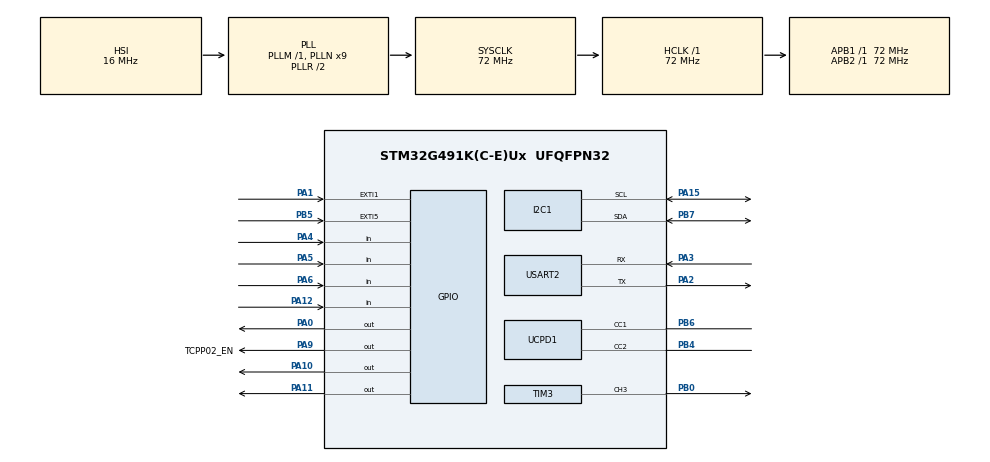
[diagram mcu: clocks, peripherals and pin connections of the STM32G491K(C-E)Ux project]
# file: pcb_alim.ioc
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Dma.Request0=UCPD1_RX
Dma.Request1=UCPD1_TX
Dma.UCPD1_RX.0.Direction=DMA_PERIPH_TO_MEMORY
Dma.UCPD1_RX.0.EventEnable=DISABLE
Dma.UCPD1_RX.0.Instance=DMA1_Channel1
Dma.UCPD1_RX.0.MemDataAlignment=DMA_MDATAALIGN_BYTE
Dma.UCPD1_RX.0.MemInc=DMA_MINC_ENABLE
Dma.UCPD1_RX.0.Mode=DMA_NORMAL
Dma.UCPD1_RX.0.PeriphDataAlignment=DMA_PDATAALIGN_BYTE
Dma.UCPD1_RX.0.PeriphInc=DMA_PINC_DISABLE
Dma.UCPD1_RX.0.Polarity=HAL_DMAMUX_REQ_GEN_RISING
Dma.UCPD1_RX.0.Priority=DMA_PRIORITY_LOW
Dma.UCPD1_RX.0.RequestNumber=1
Dma.UCPD1_RX.0.SignalID=NONE
Dma.UCPD1_RX.0.SyncEnable=DISABLE
Dma.UCPD1_RX.0.SyncPolarity=HAL_DMAMUX_SYNC_NO_EVENT
Dma.UCPD1_RX.0.SyncRequestNumber=1
Dma.UCPD1_RX.0.SyncSignalID=NONE
Dma.UCPD1_TX.1.Direction=DMA_MEMORY_TO_PERIPH
Dma.UCPD1_TX.1.EventEnable=DISABLE
Dma.UCPD1_TX.1.Instance=DMA1_Channel2
Dma.UCPD1_TX.1.MemDataAlignment=DMA_MDATAALIGN_BYTE
Dma.UCPD1_TX.1.MemInc=DMA_MINC_ENABLE
Dma.UCPD1_TX.1.Mode=DMA_NORMAL
Dma.UCPD1_TX.1.PeriphDataAlignment=DMA_PDATAALIGN_BYTE
Dma.UCPD1_TX.1.PeriphInc=DMA_PINC_DISABLE
Dma.UCPD1_TX.1.Polarity=HAL_DMAMUX_REQ_GEN_RISING
Dma.UCPD1_TX.1.Priority=DMA_PRIORITY_LOW
Dma.UCPD1_TX.1.RequestNumber=1
Dma.UCPD1_TX.1.SignalID=NONE
Dma.UCPD1_TX.1.SyncEnable=DISABLE
Dma.UCPD1_TX.1.SyncPolarity=HAL_DMAMUX_SYNC_NO_EVENT
Dma.UCPD1_TX.1.SyncRequestNumber=1
Dma.UCPD1_TX.1.SyncSignalID=NONE
I2C1.Timing=0x10C18DCC
Mcu.Family=STM32G4
Mcu.Name=STM32G491K(C-E)Ux
Mcu.Package=UFQFPN32
NVIC.DMA1_Channel1_IRQn=true\:0\:0\:false\:false\:true\:false\:true\:true
NVIC.DMA1_Channel2_IRQn=true\:0\:0\:false\:false\:true\:false\:true\:true
NVIC.EXTI1_IRQn=true\:0\:0\:false\:false\:true\:true\:true\:true
NVIC.EXTI9_5_IRQn=true\:0\:0\:false\:false\:true\:true\:true\:true
NVIC.PriorityGroup=NVIC_PRIORITYGROUP_4
NVIC.UCPD1_IRQn=true\:0\:0\:false\:false\:true\:true\:false\:true
NVIC.USART2_IRQn=true\:0\:0\:false\:false\:true\:true\:true\:true
PA0.GPIO_ModeDefaultOutputPP=GPIO_MODE_OUTPUT_OD
PA0.GPIO_PuPd=GPIO_NOPULL
PA0.Signal=GPIO_Output
PA1.GPIO_ModeDefaultEXTI=GPIO_MODE_IT_RISING
PA1.Signal=GPXTI1
PA10.GPIO_ModeDefaultOutputPP=GPIO_MODE_OUTPUT_OD
PA10.GPIO_PuPd=GPIO_NOPULL
PA10.Signal=GPIO_Output
PA11.GPIO_ModeDefaultOutputPP=GPIO_MODE_OUTPUT_OD
PA11.GPIO_PuPd=GPIO_NOPULL
PA11.Signal=GPIO_Output
PA12.GPIO_PuPd=GPIO_PULLUP
PA12.Signal=GPIO_Input
PA15.Mode=I2C
PA15.Signal=I2C1_SCL
PA2.Mode=Asynchronous
PA2.Signal=USART2_TX
PA3.Mode=Asynchronous
PA3.Signal=USART2_RX
PA4.Signal=GPIO_Input
PA5.Signal=GPIO_Input
PA6.Signal=GPIO_Input
PA9.GPIO_Label=TCPP02_EN
PA9.Signal=GPIO_Output
PB0.Signal=S_TIM3_CH3
PB4.Mode=Source_AllSignals
PB4.Signal=UCPD1_CC2
PB5.GPIO_ModeDefaultEXTI=GPIO_MODE_IT_FALLING
PB5.Signal=GPXTI5
PB6.Mode=Source_AllSignals
PB6.Signal=UCPD1_CC1
PB7.Mode=I2C
PB7.Signal=I2C1_SDA
ProjectManager.HeapSize=0x200
ProjectManager.StackSize=0x400
ProjectManager.TargetToolchain=STM32CubeIDE
RCC.ADC12Freq_Value=72000000
RCC.ADC345Freq_Value=72000000
RCC.AHBFreq_Value=72000000
RCC.APB1Freq_Value=72000000
RCC.APB1TimFreq_Value=72000000
RCC.APB2Freq_Value=72000000
RCC.APB2TimFreq_Value=72000000
RCC.CortexFreq_Value=72000000
RCC.EXTERNAL_CLOCK_VALUE=12288000
RCC.HCLKFreq_Value=72000000
RCC.HSE_VALUE=8000000
RCC.HSI48_VALUE=48000000
RCC.HSI_VALUE=16000000
RCC.LSE_VALUE=32768
RCC.PLLN=9
RCC.SYSCLKFreq_VALUE=72000000
RCC.SYSCLKSource=RCC_SYSCLKSOURCE_PLLCLK
RCC.VCOOutputFreq_Value=144000000
SH.S_TIM3_CH3.0=TIM3_CH3,PWM Generation3 CH3
TIM3.AutoReloadPreload=TIM_AUTORELOAD_PRELOAD_ENABLE
TIM3.Channel-PWM\ Generation3\ CH3=TIM_CHANNEL_3
TIM3.Prescaler=71
USART2.VirtualMode-Asynchronous=VM_ASYNC
USBPD.USBPD_PORT0_PDO_SRC_FIXED_SET_MAX_CURRENT_0=5000
VP_SYS_VS_DBSignals.Mode=DisableDeadBatterySignals
VP_TIM3_VS_ClockSourceINT.Mode=Internal
VP_USBPD_VS_PD3FULL.Mode=PD3_Full_Stack
VP_USBPD_VS_USBPD1.Mode=USBPD_P0
VP_USBPD_VS_usbpd_tim1.Mode=TIM1
board=custom

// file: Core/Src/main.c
/* USER CODE BEGIN Header */
/**
  ******************************************************************************
  * @file           : main.c
  * @brief          : Main program body
  ******************************************************************************
  * @attention
  *
  * Copyright (c) 2025 STMicroelectronics.
  * All rights reserved.
  *
  * This software is licensed under terms that can be found in the LICENSE file
  * in the root directory of this software component.
  * If no LICENSE file comes with this software, it is provided AS-IS.
  *
  ******************************************************************************
  */
/* USER CODE END Header */
#include "main.h"
#include "usbpd.h"

/* USER CODE BEGIN Includes */
#include "alim.h"
#include <string.h>
/* USER CODE END Includes */

I2C_HandleTypeDef hi2c1;

TIM_HandleTypeDef htim3;

UART_HandleTypeDef huart2;

void SystemClock_Config(void);
static void MX_GPIO_Init(void);
static void MX_DMA_Init(void);
static void MX_TIM3_Init(void);
static void MX_USART2_UART_Init(void);
static void MX_I2C1_Init(void);
static void MX_UCPD1_Init(void);

/* USER CODE BEGIN 0 */
uint32_t BAU_State = 0;
/* USER CODE END 0 */

int main(void)
{

  /* MCU Configuration--------------------------------------------------------*/

  /* Reset of all peripherals, Initializes the Flash interface and the Systick. */
  HAL_Init();

  /* Configure the system clock */
  SystemClock_Config();

  /* Initialize all configured peripherals */
  MX_GPIO_Init();
  MX_DMA_Init();
  MX_TIM3_Init();
  MX_USART2_UART_Init();
  MX_I2C1_Init();
  MX_UCPD1_Init();
  /* USER CODE BEGIN 2 */

  if(HAL_GPIO_ReadPin(GPIOA, GPIO_PIN_1) == GPIO_PIN_SET){
	  BAU_State = 0;
  }else{
	  BAU_State = 1;
  }

  ina236_init(I2C_IN1, 0.004f, 0.000610f); // Rshunt = 4 mOhm, currentLSB = 610 uA (maxCurrent = 20A)
  ina236_init(I2C_IN2, 0.004f, 0.000610f); // Rshunt = 4 mOhm, currentLSB = 610 uA (maxCurrent = 20A)
  ina236_init(I2C_OUT5V, 0.013f, 0.000185f); // Rshunt = 13 mOhm, currentLSB = 185 uA (maxCurrent = 6A)
  ina236_init(I2C_OUT5V1, 0.013f, 0.000185f); // Rshunt = 13 mOhm, currentLSB = 185 uA (maxCurrent = 6A)
  ina236_init(I2C_OUT12V, 0.020f, 0.000125f); // Rshunt = 20 mOhm, currentLSB = 305 uA (maxCurrent = 4A)
  ina236_init(I2C_OUT24V, 0.062f, 0.000040f); // Rshunt = 62 mOhm, currentLSB = 40 uA (maxCurrent = 1A25)

  uart_start_reception();

  /* USER CODE END 2 */

  /* USBPD initialisation ---------------------------------*/
  MX_USBPD_Init();

  /* Infinite loop */
  /* USER CODE BEGIN WHILE */
  while (1)
  {
	  /*
	HAL_GPIO_WritePin(GPIOB, GPIO_PIN_0, GPIO_PIN_SET);
	HAL_Delay(500);
	HAL_GPIO_WritePin(GPIOB, GPIO_PIN_0, GPIO_PIN_RESET);
	HAL_Delay(500);*/
    /* USER CODE END WHILE */
    USBPD_DPM_Run();

  }
}

void SystemClock_Config(void)
{
  RCC_OscInitTypeDef RCC_OscInitStruct = {0};
  RCC_ClkInitTypeDef RCC_ClkInitStruct = {0};

  /** Configure the main internal regulator output voltage
  */
  HAL_PWREx_ControlVoltageScaling(PWR_REGULATOR_VOLTAGE_SCALE1);

  /** Initializes the RCC Oscillators according to the specified parameters
  * in the RCC_OscInitTypeDef structure.
  */
  RCC_OscInitStruct.OscillatorType = RCC_OSCILLATORTYPE_HSI;
  RCC_OscInitStruct.HSIState = RCC_HSI_ON;
  RCC_OscInitStruct.HSICalibrationValue = RCC_HSICALIBRATION_DEFAULT;
  RCC_OscInitStruct.PLL.PLLState = RCC_PLL_ON;
  RCC_OscInitStruct.PLL.PLLSource = RCC_PLLSOURCE_HSI;
  RCC_OscInitStruct.PLL.PLLM = RCC_PLLM_DIV1;
  RCC_OscInitStruct.PLL.PLLN = 9;
  RCC_OscInitStruct.PLL.PLLP = RCC_PLLP_DIV2;
  RCC_OscInitStruct.PLL.PLLQ = RCC_PLLQ_DIV2;
  RCC_OscInitStruct.PLL.PLLR = RCC_PLLR_DIV2;
  if (HAL_RCC_OscConfig(&RCC_OscInitStruct) != HAL_OK)
  {
    Error_Handler();
  }

  /** Initializes the CPU, AHB and APB buses clocks
  */
  RCC_ClkInitStruct.ClockType = RCC_CLOCKTYPE_HCLK|RCC_CLOCKTYPE_SYSCLK
                              |RCC_CLOCKTYPE_PCLK1|RCC_CLOCKTYPE_PCLK2;
  RCC_ClkInitStruct.SYSCLKSource = RCC_SYSCLKSOURCE_PLLCLK;
  RCC_ClkInitStruct.AHBCLKDivider = RCC_SYSCLK_DIV1;
  RCC_ClkInitStruct.APB1CLKDivider = RCC_HCLK_DIV1;
  RCC_ClkInitStruct.APB2CLKDivider = RCC_HCLK_DIV1;

  if (HAL_RCC_ClockConfig(&RCC_ClkInitStruct, FLASH_LATENCY_2) != HAL_OK)
  {
    Error_Handler();
  }
}

static void MX_I2C1_Init(void)
{

  hi2c1.Instance = I2C1;
  hi2c1.Init.Timing = 0x10C18DCC;
  hi2c1.Init.OwnAddress1 = 0;
  hi2c1.Init.AddressingMode = I2C_ADDRESSINGMODE_7BIT;
  hi2c1.Init.DualAddressMode = I2C_DUALADDRESS_DISABLE;
  hi2c1.Init.OwnAddress2 = 0;
  hi2c1.Init.OwnAddress2Masks = I2C_OA2_NOMASK;
  hi2c1.Init.GeneralCallMode = I2C_GENERALCALL_DISABLE;
  hi2c1.Init.NoStretchMode = I2C_NOSTRETCH_DISABLE;
  if (HAL_I2C_Init(&hi2c1) != HAL_OK)
  {
    Error_Handler();
  }

  /** Configure Analogue filter
  */
  if (HAL_I2CEx_ConfigAnalogFilter(&hi2c1, I2C_ANALOGFILTER_ENABLE) != HAL_OK)
  {
    Error_Handler();
  }

  /** Configure Digital filter
  */
  if (HAL_I2CEx_ConfigDigitalFilter(&hi2c1, 0) != HAL_OK)
  {
    Error_Handler();
  }

}

static void MX_TIM3_Init(void)
{

  TIM_ClockConfigTypeDef sClockSourceConfig = {0};
  TIM_MasterConfigTypeDef sMasterConfig = {0};
  TIM_OC_InitTypeDef sConfigOC = {0};

  htim3.Instance = TIM3;
  htim3.Init.Prescaler = 71;
  htim3.Init.CounterMode = TIM_COUNTERMODE_UP;
  htim3.Init.Period = 65535;
  htim3.Init.ClockDivision = TIM_CLOCKDIVISION_DIV1;
  htim3.Init.AutoReloadPreload = TIM_AUTORELOAD_PRELOAD_ENABLE;
  if (HAL_TIM_Base_Init(&htim3) != HAL_OK)
  {
    Error_Handler();
  }
  sClockSourceConfig.ClockSource = TIM_CLOCKSOURCE_INTERNAL;
  if (HAL_TIM_ConfigClockSource(&htim3, &sClockSourceConfig) != HAL_OK)
  {
    Error_Handler();
  }
  if (HAL_TIM_PWM_Init(&htim3) != HAL_OK)
  {
    Error_Handler();
  }
  sMasterConfig.MasterOutputTrigger = TIM_TRGO_RESET;
  sMasterConfig.MasterSlaveMode = TIM_MASTERSLAVEMODE_DISABLE;
  if (HAL_TIMEx_MasterConfigSynchronization(&htim3, &sMasterConfig) != HAL_OK)
  {
    Error_Handler();
  }
  sConfigOC.OCMode = TIM_OCMODE_PWM1;
  sConfigOC.Pulse = 0;
  sConfigOC.OCPolarity = TIM_OCPOLARITY_HIGH;
  sConfigOC.OCFastMode = TIM_OCFAST_DISABLE;
  if (HAL_TIM_PWM_ConfigChannel(&htim3, &sConfigOC, TIM_CHANNEL_3) != HAL_OK)
  {
    Error_Handler();
  }
  HAL_TIM_MspPostInit(&htim3);

}

static void MX_UCPD1_Init(void)
{

  LL_GPIO_InitTypeDef GPIO_InitStruct = {0};

  /* Peripheral clock enable */
  LL_APB1_GRP2_EnableClock(LL_APB1_GRP2_PERIPH_UCPD1);

  LL_AHB2_GRP1_EnableClock(LL_AHB2_GRP1_PERIPH_GPIOB);
  /**UCPD1 GPIO Configuration
  PB4   ------> UCPD1_CC2
  PB6   ------> UCPD1_CC1
  */
  GPIO_InitStruct.Pin = LL_GPIO_PIN_4;
  GPIO_InitStruct.Mode = LL_GPIO_MODE_ANALOG;
  GPIO_InitStruct.Pull = LL_GPIO_PULL_NO;
  LL_GPIO_Init(GPIOB, &GPIO_InitStruct);

  GPIO_InitStruct.Pin = LL_GPIO_PIN_6;
  GPIO_InitStruct.Mode = LL_GPIO_MODE_ANALOG;
  GPIO_InitStruct.Pull = LL_GPIO_PULL_NO;
  LL_GPIO_Init(GPIOB, &GPIO_InitStruct);

  /* UCPD1 DMA Init */

  /* UCPD1_RX Init */
  LL_DMA_SetPeriphRequest(DMA1, LL_DMA_CHANNEL_1, LL_DMAMUX_REQ_UCPD1_RX);

  LL_DMA_SetDataTransferDirection(DMA1, LL_DMA_CHANNEL_1, LL_DMA_DIRECTION_PERIPH_TO_MEMORY);

  LL_DMA_SetChannelPriorityLevel(DMA1, LL_DMA_CHANNEL_1, LL_DMA_PRIORITY_LOW);

  LL_DMA_SetMode(DMA1, LL_DMA_CHANNEL_1, LL_DMA_MODE_NORMAL);

  LL_DMA_SetPeriphIncMode(DMA1, LL_DMA_CHANNEL_1, LL_DMA_PERIPH_NOINCREMENT);

  LL_DMA_SetMemoryIncMode(DMA1, LL_DMA_CHANNEL_1, LL_DMA_MEMORY_INCREMENT);

  LL_DMA_SetPeriphSize(DMA1, LL_DMA_CHANNEL_1, LL_DMA_PDATAALIGN_BYTE);

  LL_DMA_SetMemorySize(DMA1, LL_DMA_CHANNEL_1, LL_DMA_MDATAALIGN_BYTE);

  /* UCPD1_TX Init */
  LL_DMA_SetPeriphRequest(DMA1, LL_DMA_CHANNEL_2, LL_DMAMUX_REQ_UCPD1_TX);

  LL_DMA_SetDataTransferDirection(DMA1, LL_DMA_CHANNEL_2, LL_DMA_DIRECTION_MEMORY_TO_PERIPH);

  LL_DMA_SetChannelPriorityLevel(DMA1, LL_DMA_CHANNEL_2, LL_DMA_PRIORITY_LOW);

  LL_DMA_SetMode(DMA1, LL_DMA_CHANNEL_2, LL_DMA_MODE_NORMAL);

  LL_DMA_SetPeriphIncMode(DMA1, LL_DMA_CHANNEL_2, LL_DMA_PERIPH_NOINCREMENT);

  LL_DMA_SetMemoryIncMode(DMA1, LL_DMA_CHANNEL_2, LL_DMA_MEMORY_INCREMENT);

  LL_DMA_SetPeriphSize(DMA1, LL_DMA_CHANNEL_2, LL_DMA_PDATAALIGN_BYTE);

  LL_DMA_SetMemorySize(DMA1, LL_DMA_CHANNEL_2, LL_DMA_MDATAALIGN_BYTE);

  /* UCPD1 interrupt Init */
  NVIC_SetPriority(UCPD1_IRQn, NVIC_EncodePriority(NVIC_GetPriorityGrouping(),0, 0));
  NVIC_EnableIRQ(UCPD1_IRQn);

}

static void MX_USART2_UART_Init(void)
{

  huart2.Instance = USART2;
  huart2.Init.BaudRate = 115200;
  huart2.Init.WordLength = UART_WORDLENGTH_8B;
  huart2.Init.StopBits = UART_STOPBITS_1;
  huart2.Init.Parity = UART_PARITY_NONE;
  huart2.Init.Mode = UART_MODE_TX_RX;
  huart2.Init.HwFlowCtl = UART_HWCONTROL_NONE;
  huart2.Init.OverSampling = UART_OVERSAMPLING_16;
  huart2.Init.OneBitSampling = UART_ONE_BIT_SAMPLE_DISABLE;
  huart2.Init.ClockPrescaler = UART_PRESCALER_DIV1;
  huart2.AdvancedInit.AdvFeatureInit = UART_ADVFEATURE_NO_INIT;
  if (HAL_UART_Init(&huart2) != HAL_OK)
  {
    Error_Handler();
  }
  if (HAL_UARTEx_SetTxFifoThreshold(&huart2, UART_TXFIFO_THRESHOLD_1_8) != HAL_OK)
  {
    Error_Handler();
  }
  if (HAL_UARTEx_SetRxFifoThreshold(&huart2, UART_RXFIFO_THRESHOLD_1_8) != HAL_OK)
  {
    Error_Handler();
  }
  if (HAL_UARTEx_DisableFifoMode(&huart2) != HAL_OK)
  {
    Error_Handler();
  }

}

static void MX_DMA_Init(void)
{

  /* DMA controller clock enable */
  __HAL_RCC_DMAMUX1_CLK_ENABLE();
  __HAL_RCC_DMA1_CLK_ENABLE();

  /* DMA interrupt init */
  /* DMA1_Channel1_IRQn interrupt configuration */
  NVIC_SetPriority(DMA1_Channel1_IRQn, NVIC_EncodePriority(NVIC_GetPriorityGrouping(),0, 0));
  NVIC_EnableIRQ(DMA1_Channel1_IRQn);
  /* DMA1_Channel2_IRQn interrupt configuration */
  NVIC_SetPriority(DMA1_Channel2_IRQn, NVIC_EncodePriority(NVIC_GetPriorityGrouping(),0, 0));
  NVIC_EnableIRQ(DMA1_Channel2_IRQn);

}

static void MX_GPIO_Init(void)
{
  GPIO_InitTypeDef GPIO_InitStruct = {0};

  /* GPIO Ports Clock Enable */
  __HAL_RCC_GPIOA_CLK_ENABLE();
  __HAL_RCC_GPIOB_CLK_ENABLE();

  /*Configure GPIO pin Output Level */
  HAL_GPIO_WritePin(GPIOA, GPIO_PIN_0|TCPP02_EN_Pin|GPIO_PIN_10|GPIO_PIN_11, GPIO_PIN_RESET);

  /*Configure GPIO pins : PA0 PA10 PA11 */
  GPIO_InitStruct.Pin = GPIO_PIN_0|GPIO_PIN_10|GPIO_PIN_11;
  GPIO_InitStruct.Mode = GPIO_MODE_OUTPUT_OD;
  GPIO_InitStruct.Pull = GPIO_NOPULL;
  GPIO_InitStruct.Speed = GPIO_SPEED_FREQ_LOW;
  HAL_GPIO_Init(GPIOA, &GPIO_InitStruct);

  /*Configure GPIO pin : PA1 */
  GPIO_InitStruct.Pin = GPIO_PIN_1;
  GPIO_InitStruct.Mode = GPIO_MODE_IT_RISING;
  GPIO_InitStruct.Pull = GPIO_NOPULL;
  HAL_GPIO_Init(GPIOA, &GPIO_InitStruct);

  /*Configure GPIO pins : PA4 PA5 PA6 */
  GPIO_InitStruct.Pin = GPIO_PIN_4|GPIO_PIN_5|GPIO_PIN_6;
  GPIO_InitStruct.Mode = GPIO_MODE_INPUT;
  GPIO_InitStruct.Pull = GPIO_NOPULL;
  HAL_GPIO_Init(GPIOA, &GPIO_InitStruct);

  /*Configure GPIO pin : TCPP02_EN_Pin */
  GPIO_InitStruct.Pin = TCPP02_EN_Pin;
  GPIO_InitStruct.Mode = GPIO_MODE_OUTPUT_PP;
  GPIO_InitStruct.Pull = GPIO_NOPULL;
  GPIO_InitStruct.Speed = GPIO_SPEED_FREQ_LOW;
  HAL_GPIO_Init(TCPP02_EN_GPIO_Port, &GPIO_InitStruct);

  /*Configure GPIO pin : PA12 */
  GPIO_InitStruct.Pin = GPIO_PIN_12;
  GPIO_InitStruct.Mode = GPIO_MODE_INPUT;
  GPIO_InitStruct.Pull = GPIO_PULLUP;
  HAL_GPIO_Init(GPIOA, &GPIO_InitStruct);

  /*Configure GPIO pin : PB5 */
  GPIO_InitStruct.Pin = GPIO_PIN_5;
  GPIO_InitStruct.Mode = GPIO_MODE_IT_FALLING;
  GPIO_InitStruct.Pull = GPIO_NOPULL;
  HAL_GPIO_Init(GPIOB, &GPIO_InitStruct);

  /* EXTI interrupt init*/
  HAL_NVIC_SetPriority(EXTI1_IRQn, 0, 0);
  HAL_NVIC_EnableIRQ(EXTI1_IRQn);

  HAL_NVIC_SetPriority(EXTI9_5_IRQn, 0, 0);
  HAL_NVIC_EnableIRQ(EXTI9_5_IRQn);

}

/* USER CODE BEGIN 4 */
uint32_t last_debounce_time = 0;
const uint32_t debounce_delay = 200;  // 50ms d'antirebond

void HAL_GPIO_EXTI_Callback(uint16_t GPIO_Pin)
{
	if (GPIO_Pin == GPIO_PIN_1)
	    {
	        uint32_t current_time = HAL_GetTick();
	        if (current_time - last_debounce_time > debounce_delay)
	        {
	            last_debounce_time = current_time;
	            if(BAU_State == 0){
	            	BAU_State = 1;
	            }else{
	            	BAU_State = 0;
	            }

	            send_set_response("BAU", "STATE", BAU_State);
	        }
	    }
}

/* USER CODE END 4 */

void Error_Handler(void)
{
  __disable_irq();
  while (1)
  {
  }
}
